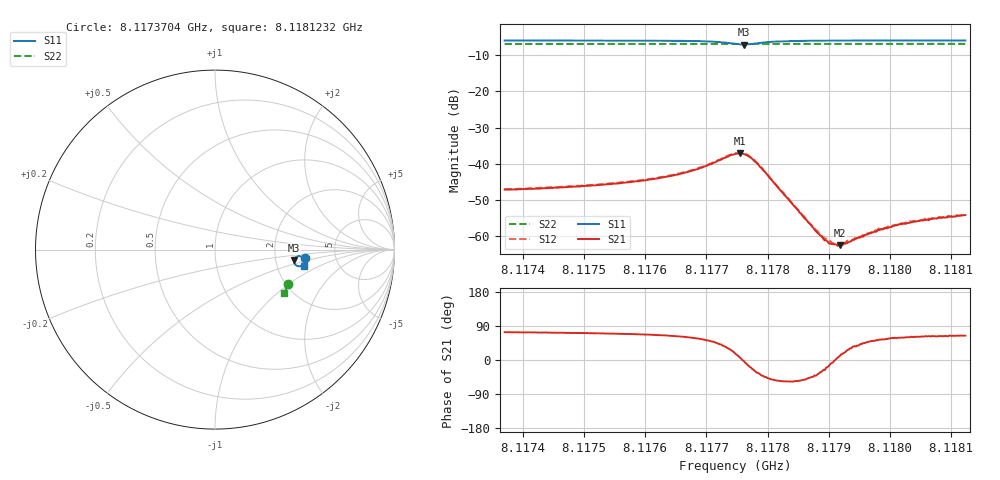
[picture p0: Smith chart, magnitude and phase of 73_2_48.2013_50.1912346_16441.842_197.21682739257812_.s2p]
#  HZ  S  RI  R  50.00
! Rohde & Schwarz Vector Network Analyzer
! Rohde-Schwarz,ZNB20-2Port,1311601062101988,3.16
! Created: UTC 3/20/2024, 11:39:15 AM
! freq[Hz]  re:S11  im:S11  re:S21  im:S21  re:S12  im:S12  re:S22  im:S22
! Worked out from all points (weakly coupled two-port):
!   401 points, 8.1173704 GHz to 8.1181232 GHz, reference 50 ohm
!   highest |S21| = -37.10 dB at 8.1177543 GHz (marker M1); lowest = -62.6 dB at 8.117918 GHz (marker M2)
!   lowest |S11| = -7.0 dB at 8.1177618 GHz (marker M3), VSWR 2.60, Z = 127 - j19.1 ohm
!   |S11| at or under -10 dB: nowhere
!   |S22| runs from -6.9 to -6.9 dB; largest |S21 - S12| = 0.00046
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8.11737042e9  0.5033 -0.0466  0.00125 0.00419  0.00128 0.00424  0.4081 -0.1937
8.1174965e9  0.5014 -0.0583  0.0016 0.00462  0.00166 0.00471  0.4046 -0.2018
8.1175586e9  0.4998 -0.065  0.00192 0.00502  0.00199 0.00513  0.4027 -0.2059
8.11762258e9  0.4968 -0.0736  0.0026 0.00576  0.00273 0.00585  0.4006 -0.2101
8.1176828e9  0.4885 -0.085  0.00449 0.00698  0.0046 0.00708  0.3983 -0.214
8.11774678e9  0.4468 -0.0829  0.013 0.00418  0.0133 0.00422  0.3946 -0.2172
8.11775431e9  0.4413 -0.0727  0.0138 0.00177  0.014 0.00166  0.3944 -0.2172
8.11776184e9  0.4404 -0.0605  0.0135 -0.000878  0.0137 -0.00112  0.3942 -0.2171
8.11777125e9  0.4467 -0.0463  0.0116 -0.00391  0.0118 -0.00411  0.3944 -0.2172
8.1177863e9  0.4646 -0.0366  0.00754 -0.00551  0.00756 -0.00578  0.395 -0.2177
8.11782018e9  0.4889 -0.0449  0.00246 -0.00357  0.00252 -0.00369  0.3949 -0.2205
8.11787287e9  0.4972 -0.0599  0.000955 -0.000942  0.00098 -0.000982  0.3933 -0.2243
8.11788792e9  0.498 -0.0629  0.000857 -0.000519  0.000864 -0.000512  0.3929 -0.2254
8.11789733e9  0.4983 -0.0646  0.000802 -0.000273  0.000822 -0.000279  0.3926 -0.226
8.11791051e9  0.4985 -0.0669  0.000766 -2.11e-06  0.000794 -1.44e-05  0.3923 -0.227
8.11791803e9  0.4985 -0.0681  0.000731 0.000138  0.000765 0.000128  0.392 -0.2273
8.11793685e9  0.4987 -0.0707  0.000734 0.00044  0.00072 0.00046  0.3913 -0.2286
8.11797637e9  0.4986 -0.0758  0.000712 0.000888  0.000779 0.000922  0.39 -0.2312
8.11799895e9  0.4984 -0.0784  0.000729 0.00111  0.000762 0.0011  0.3893 -0.2326
8.11801777e9  0.4983 -0.0804  0.000772 0.00127  0.000795 0.00122  0.3887 -0.2338
8.11804976e9  0.4978 -0.0836  0.000788 0.00144  0.000785 0.00143  0.3876 -0.2358
8.11812316e9  0.4968 -0.0905  0.000847 0.00175  0.000843 0.00176  0.3849 -0.2403
